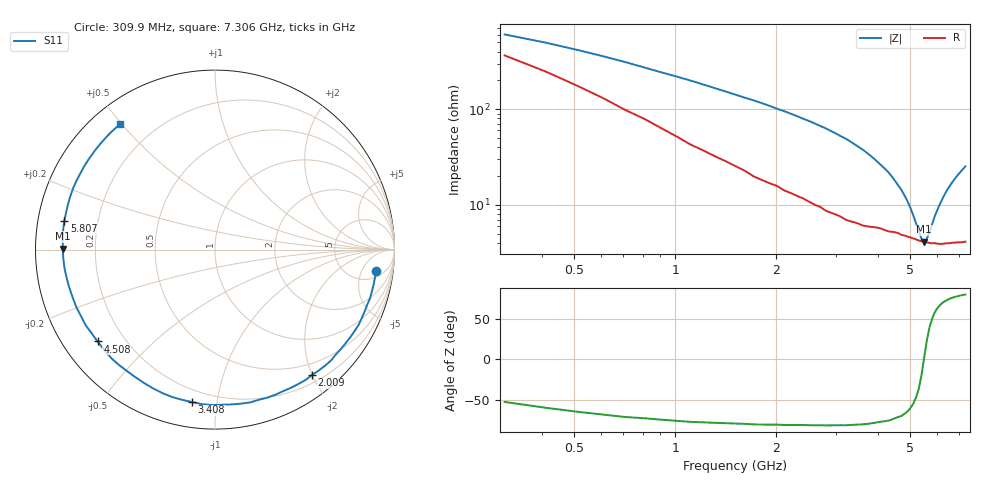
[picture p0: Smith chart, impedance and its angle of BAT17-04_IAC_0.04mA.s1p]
! Infineon Technologies  Discrete & RF Semiconductors
! BAT17-04
! IAC = 0.04 mA
! One-Port S-Parameters
# Hz  S  MA  R  50
!f  S11
!Hz  Mag  Ang
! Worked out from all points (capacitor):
!   71 points, 309.9 MHz to 7.306 GHz, reference 50 ohm
!   read as one part to ground: C = 896 fF near 309.9 MHz
!   lowest |Z| = 4.11 ohm at 5.507 GHz (marker M1)
!   series resonance near 5.497 GHz, so ESL is about 940 pH
!   S11 on the Smith chart (normalised r, x): 309.9 MHz: 7, -10; 2.009 GHz: 0.31, -2.00; 3.408 GHz: 0.13, -0.85; 4.508 GHz: 0.10, -0.34; 5.807 GHz: 0.08, +0.09; 7.306 GHz: 0.08, +0.50
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3.0985e8  0.9052 -7.6
7.0965e8  0.9055 -17.4
1.2094e9  0.9002 -30.3
1.70915e9  0.8941 -43.7
2.009e9  0.8834 -52.3
2.10895e9  0.8845 -55.1
2.6087e9  0.8747 -70.5
2.8086e9  0.8738 -77.0
3.0085e9  0.8675 -83.9
3.2084e9  0.8666 -90.8
3.4083e9  0.859 -98.5
3.6082e9  0.8556 -105.9
3.8081e9  0.8468 -114.1
4.008e9  0.8377 -122.3
4.30785e9  0.8365 -133.6
4.50775e9  0.8309 -142.0
4.70765e9  0.8347 -149.5
4.90755e9  0.8361 -157.4
5.10745e9  0.8391 -165.3
5.30735e9  0.8447 -172.8
5.50725e9  0.8484 179.6
5.6072e9  0.8501 176.0
5.8071e9  0.8547 169.2
5.90705e9  0.8551 165.6
6.2069e9  0.8611 156.5
6.50675e9  0.8641 147.5
6.90655e9  0.8693 136.8
7.30635e9  0.8765 126.9
